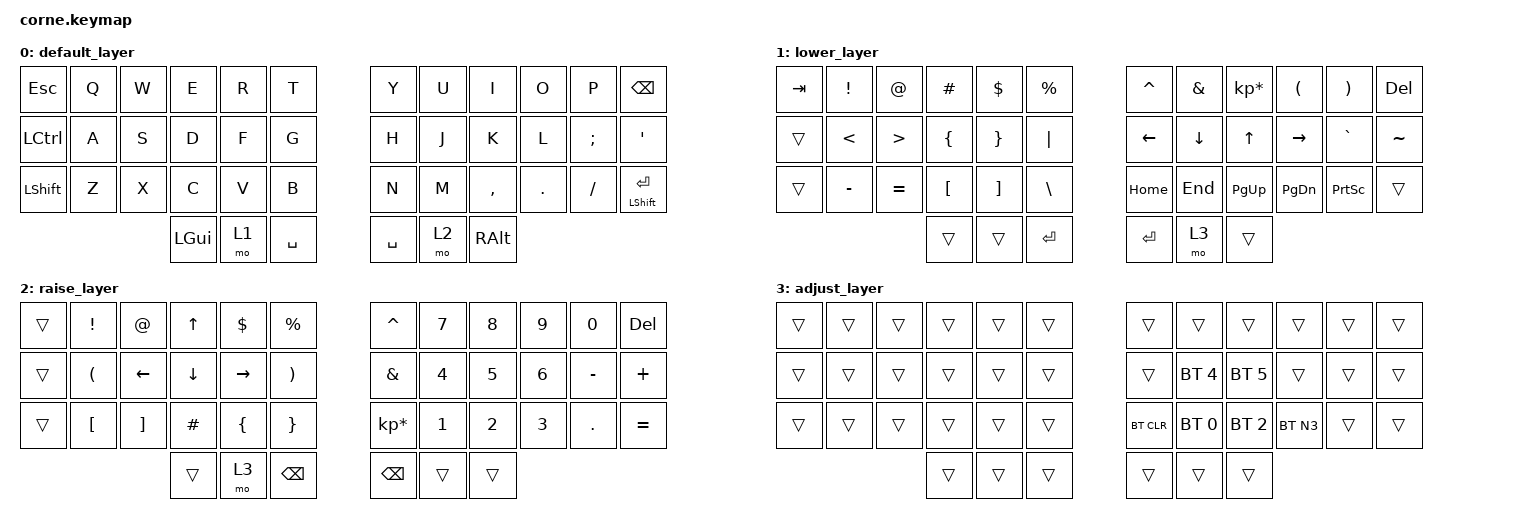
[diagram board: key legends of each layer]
/*
 * Copyright (c) 2020 The ZMK Contributors
 *
 * SPDX-License-Identifier: MIT
 */

#include <behaviors.dtsi>
#include <dt-bindings/zmk/keys.h>
#include <dt-bindings/zmk/bt.h>

/ {
        keymap {
                compatible = "zmk,keymap";

                default_layer {
// -----------------------------------------------------------------------------------------
// |  ESC |  Q  |  W  |  E  |  R  |  T  |   |  Y  |  U   |  I  |  O  |  P  | BKSP   |
// | CTRL |  A  |  S  |  D  |  F  |  G  |   |  H  |  J   |  K  |  L  |  ;  |  '     |
// | SHFT |  Z  |  X  |  C  |  V  |  B  |   |  N  |  M   |  ,  |  .  |  /  |SHFT|ENT|
//                    | GUI | LWR | SPC |   | SPC | RSE  | ALT |
                        bindings = <
   &kp ESC   &kp Q &kp W &kp E &kp R &kp T   &kp Y &kp U  &kp I     &kp O   &kp P    &kp BSPC
   &kp LCTRL &kp A &kp S &kp D &kp F &kp G   &kp H &kp J  &kp K     &kp L   &kp SEMI &kp SQT
   &kp LSHFT &kp Z &kp X &kp C &kp V &kp B   &kp N &kp M  &kp COMMA &kp DOT &kp FSLH &mt LSHFT RET
                  &kp LGUI &mo 1 &kp SPACE   &kp SPACE &mo 2 &kp RALT
                        >;
                };
                lower_layer {
// -----------------------------------------------------------------------------------------
// |  TAB |  !  |  @  |  #  |  $  |  %  |   |  ^  |  &  |  *  |  (  |  )  | DEL  |
// |      |  <  |  >  |  {  |  }  |  |  |   | LFT | DWN |  UP | RGT |  `  |  ~   |
// | SHFT |  -  |  =  |  [  |  ]  |  \  |   | HOME| END | PGUP| PGDN| PSCR|      |
//                    |     |     | ENT |   | ENT | ADJ |     |
                        bindings = <
   &kp TAB &kp EXCL  &kp AT    &kp HASH &kp DLLR &kp PRCNT      &kp CARET &kp AMPS &kp KP_MULTIPLY &kp LPAR  &kp RPAR  &kp DEL
   &trans  &kp LT    &kp GT    &kp LBRC &kp RBRC &kp PIPE       &kp LEFT  &kp DOWN &kp UP          &kp RIGHT &kp GRAVE &kp TILDE
   &trans  &kp MINUS &kp EQUAL &kp LBKT &kp RBKT &kp BSLH       &kp HOME   &kp END &kp PG_UP       &kp PG_DN &kp PSCRN &trans
                               &trans   &trans   &kp RET        &kp RET  &mo 3   &trans
                        >;
                };

                raise_layer {
// -----------------------------------------------------------------------------------------
// |      |  !  |  @  |  UP |  $  |   %  |   |  ^  |  7  |  8  |  9  |  0  | DEL  |
// |      |  (  | LFT | DWN | RGT |   )  |   |  &  |  4  |  5  |  6  |  -  |  +   |
// |      |  [  |  ]  |  #  |  {  |   }  |   |  *  |  1  |  2  |  3  |  .  |  =   |
//                    | GUI | ADJ | BKSP |   |BKSP |     | ALT |
                        bindings = <
   &trans &kp EXCL &kp AT   &kp UP   &kp DLLR  &kp PRCNT   &kp CARET       &kp N7 &kp N8 &kp N9 &kp N0    &kp DEL
   &trans &kp LPAR &kp LEFT &kp DOWN &kp RIGHT &kp RPAR    &kp AMPS        &kp N4 &kp N5 &kp N6 &kp MINUS &kp PLUS 
   &trans &kp LBKT &kp RBKT &kp HASH &kp LBRC  &kp RBRC    &kp KP_MULTIPLY &kp N1 &kp N2 &kp N3 &kp DOT   &kp EQUAL 
                                &trans  &mo 3  &kp BSPC    &kp BSPC  &trans  &trans
                        >;
                };
                adjust_layer {
// Board Specific Layer
// -----------------------------------------------------------------------------------------
// |      |     |     |     |     |      |   |     |     |     |     |     |      |
// |      |     |     |     |     |      |   |     | BT4 | BT5 |     |     |      |
// |      |     |     |     |     |      |   |BTCLR| BT1 | BT2 | BT3 |     |      |
//                    |     |     |      |   |     |     |     |
                        bindings = <
   &trans &trans &trans &trans &trans &trans    &trans     &trans       &trans       &trans        &trans &trans
   &trans &trans &trans &trans &trans &trans    &trans     &bt BT_SEL 4 &bt BT_SEL 5 &trans        &trans &trans 
   &trans &trans &trans &trans &trans &trans    &bt BT_CLR &bt BT_SEL 0 &bt BT_SEL 2 &bt BT_SEL N3 &trans &trans 
                        &trans &trans &trans    &trans     &trans       &trans
                        >;
                };
        };
};


// | = &kp PIPE
// ~ = &kp TILDE
// = = &kp EQUAL
// \ = &kp BSLH
// ` = &kp GRAVE
// DEL  = &kp DEL
// BKSP = &kp BSPC
// _ = &kp UNDER
